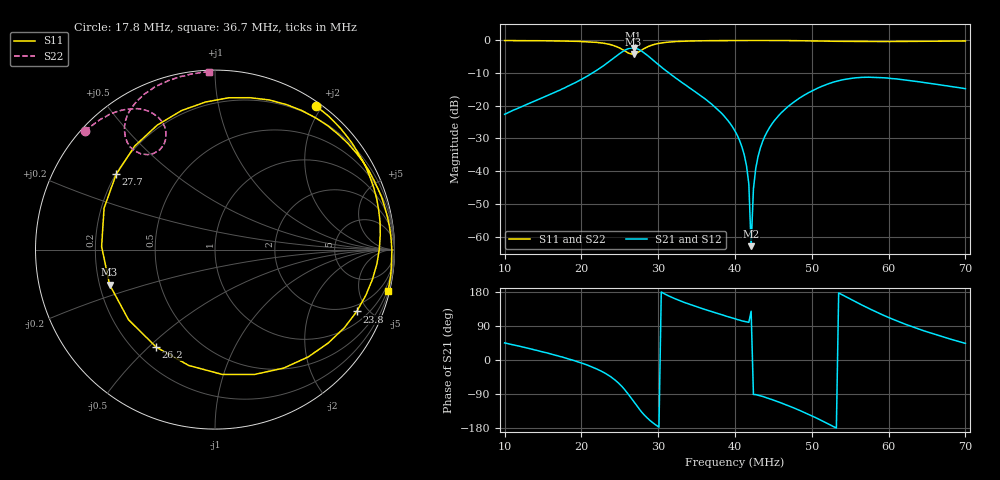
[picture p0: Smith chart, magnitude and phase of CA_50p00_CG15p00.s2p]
#  HZ  S  RI  R  50.00
! Rohde & Schwarz ZVT8 8Ports - Version 4.11 - 1300.0000k08 SN: 100242
! Date: 2026-07-31 15:17:30
! Measurements: S11 S21 S12 S22
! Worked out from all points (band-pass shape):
!   201 points, 10 MHz to 70 MHz, reference 50 ohm
!   highest |S21| = -2.30 dB at 26.8 MHz (marker M1); lowest = -63.0 dB at 42.1 MHz (marker M2)
!   |S21| within 3 dB of the highest: 24.27 MHz to 28.97 MHz (4.702 MHz wide, 17.7 % of centre)
!   lowest |S11| = -4.2 dB at 26.8 MHz (marker M3), VSWR 4.25, Z = 12.1 - j7.64 ohm
!   |S11| at or under -10 dB: nowhere
!   |S22| runs from -3.9 to 0.0 dB; largest |S21 - S12| = 0.0026
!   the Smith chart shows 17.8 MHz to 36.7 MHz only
!   S11 on the Smith chart (normalised r, x): 17.8 MHz: 0.05, +1.93; 23.8 MHz: 1.58, -4.23; 26.2 MHz: 0.29, -0.53; 27.7 MHz: 0.20, +0.32; 36.7 MHz: 0.32, -8.57
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1e7  -0.3991 0.9125  0.0523 0.0526  0.0522 0.0528  -0.9194 0.382
1.78e7  0.5632 0.7989  0.186 0.0197  0.1864 0.0199  -0.7219 0.659
2.02e7  0.8157 0.5067  0.2575 -0.0419  0.2567 -0.0418  -0.6197 0.7346
2.38e7  0.7899 -0.3445  0.3555 -0.3419  0.3563 -0.342  -0.3846 0.7762
2.53e7  0.22 -0.6956  0.2237 -0.6284  0.2238 -0.6283  -0.2798 0.6834
2.62e7  -0.3271 -0.5437  -0.0363 -0.7537  -0.0351 -0.753  -0.2842 0.5847
2.68e7  -0.5872 -0.1954  -0.2552 -0.7237  -0.2561 -0.7229  -0.3409 0.536
2.77e7  -0.5507 0.4192  -0.4853 -0.5083  -0.4852 -0.5087  -0.4442 0.5488
2.86e7  -0.1867 0.7746  -0.5275 -0.2625  -0.5287 -0.2614  -0.4997 0.6294
3.01e7  0.3984 0.808  -0.4183 -0.0218  -0.4179 -0.0223  -0.4783 0.7689
3.28e7  0.8853 0.3869  -0.2212 0.0952  -0.22 0.0954  -0.319 0.9141
3.67e7  0.9648 -0.2279  -0.0715 0.0866  -0.0711 0.0864  -0.0317 0.9917
4e7  0.7762 -0.6247  -0.0133 0.0389  -0.0131 0.0388  0.2516 0.9643
4.15e7  0.6463 -0.7597  -0.00216 0.0119  -0.00213 0.0118  0.3901 0.9162
4.18e7  0.617 -0.7843  -0.00105 0.00631  -0.00109 0.00616  0.4181 0.9048
4.21e7  0.5881 -0.8063  -0.000445 0.000556  -0.00045 0.000476  0.4482 0.8898
4.24e7  0.558 -0.8263  -9.76e-05 -0.00534  -8.6e-05 -0.00522  0.4777 0.8749
4.36e7  0.4316 -0.8989  -0.00304 -0.0283  -0.00303 -0.0282  0.594 0.7995
5.02e7  -0.3117 -0.9326  -0.1487 -0.0886  -0.1489 -0.0891  0.9654 -0.1639
5.53e7  -0.7414 -0.6124  -0.2448 0.0996  -0.2447 0.1  0.1074 -0.9523
6.01e7  -0.9449 -0.172  -0.0962 0.2451  -0.096 0.2448  -0.8089 -0.5149
7e7  -0.5975 0.7764  0.1318 0.1264  0.1319 0.1262  -0.7488 0.6314
